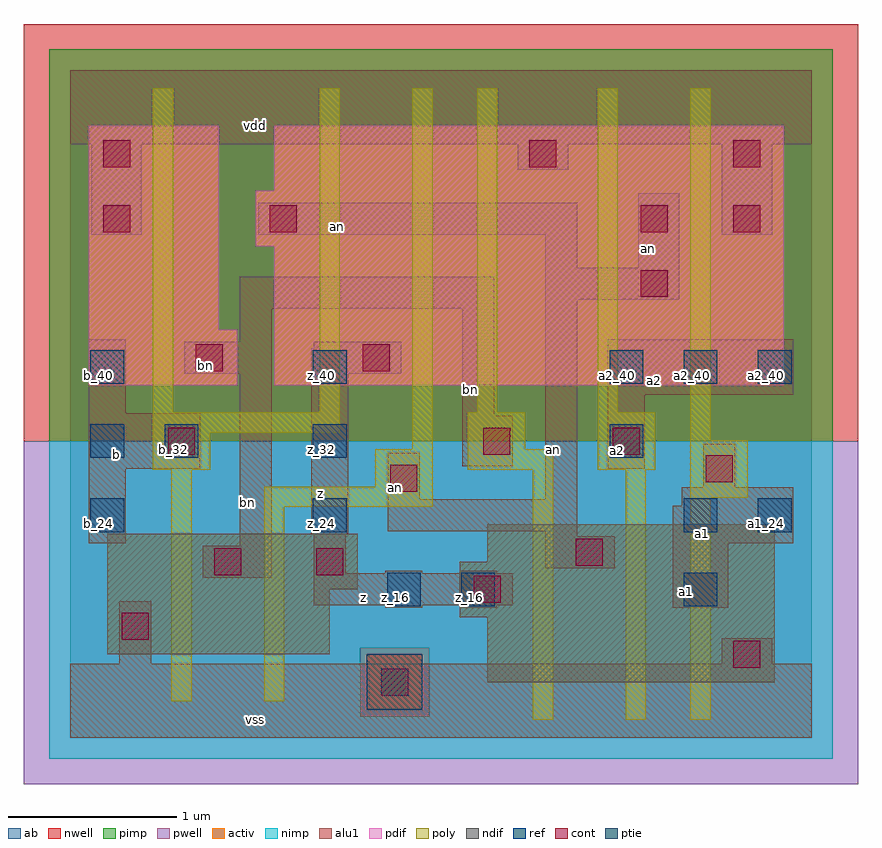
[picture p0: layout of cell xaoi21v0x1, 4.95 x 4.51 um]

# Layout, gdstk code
import gdstk
lib = gdstk.Library(unit=1e-6, precision=2.5e-09)
def R(c, l, rs):  # rectangles x0, y0, x1, y1
    for r in rs: c.add(gdstk.rectangle(r[:2], r[2:], *l))
def A(c, l, x, y, w, h, nx, ny, dx, dy):  # array of equal rectangles
    R(c, l, [(x+i*dx, y+j*dy, x+i*dx+w, y+j*dy+h) for i in range(nx) for j in range(ny)])
ndif = (3, 0)
pdif = (4, 0)
ptie = (6, 0)
ref = (24, 0)
cont = (25, 0)
pwell = (41, 0)
nwell = (42, 0)
activ = (43, 0)
pimp = (44, 0)
nimp = (45, 0)
poly = (46, 0)
alu1 = (49, 0)
ab = (63, 0)

xaoi21v0x1 = lib.new_cell('xaoi21v0x1')
R(xaoi21v0x1, ndif, [(2.475,0.33,4.18,0.715), (0.22,0.495,1.54,0.88), (2.31,0.715,4.18,1.045), (0.22,0.88,1.705,1.21), (2.475,1.045,4.18,1.265)])
R(xaoi21v0x1, pdif, [(0.11,2.09,0.99,2.42), (1.21,2.09,4.235,2.915), (0.11,2.42,0.88,3.63), (1.1,2.915,4.235,3.245), (1.21,3.245,4.235,3.63)])
R(xaoi21v0x1, ptie, [(1.76,0.165,2.09,0.495)])
A(xaoi21v0x1, ref, 0.12, 1.22, 0.2, 0.2, 1, 3, 0, 0.44)
A(xaoi21v0x1, ref, 1.44, 1.22, 0.2, 0.2, 1, 3, 0, 0.44)
A(xaoi21v0x1, ref, 3.2, 2.1, 0.2, 0.2, 3, 1, 0.44, 0)
R(xaoi21v0x1, ref, [(1.88,0.78,2.08,0.98), (2.32,0.78,2.52,0.98), (3.64,0.78,3.84,0.98), (3.64,1.22,3.84,1.42), (4.08,1.22,4.28,1.42), (0.56,1.66,0.76,1.86), (3.2,1.66,3.4,1.86)])
R(xaoi21v0x1, cont, [(1.845,0.25,2.005,0.41), (3.935,0.415,4.095,0.575), (0.305,0.58,0.465,0.74), (2.395,0.8,2.555,0.96), (0.855,0.965,1.015,1.125), (1.46,0.965,1.62,1.125), (3,1.02,3.16,1.18), (1.9,1.46,2.06,1.62), (3.77,1.515,3.93,1.675), (0.58,1.68,0.74,1.84), (2.45,1.68,2.61,1.84), (3.22,1.68,3.38,1.84), (0.745,2.175,0.905,2.335), (1.735,2.175,1.895,2.335), (3.385,2.615,3.545,2.775), (0.195,3,0.355,3.16), (1.185,3,1.345,3.16), (3.385,3,3.545,3.16), (3.935,3,4.095,3.16), (0.195,3.385,0.355,3.545), (2.725,3.385,2.885,3.545), (3.935,3.385,4.095,3.545)])
R(xaoi21v0x1, pwell, [(-0.275,-0.275,4.675,1.76)])
R(xaoi21v0x1, nwell, [(-0.275,1.76,4.675,4.235)])
R(xaoi21v0x1, activ, [(1.76,0.165,2.09,0.495), (2.475,0.33,4.18,0.715), (0.22,0.495,1.54,0.88), (2.31,0.715,4.18,1.045), (0.22,0.88,1.705,1.21), (2.475,1.045,4.18,1.265), (0.11,2.09,0.99,2.42), (1.21,2.09,4.235,2.915), (0.11,2.42,0.88,3.63), (1.1,2.915,4.235,3.245), (1.21,3.245,4.235,3.63)])
R(xaoi21v0x1, pimp, [(1.72,0.125,2.13,0.535), (-0.125,1.76,4.525,4.085)])
R(xaoi21v0x1, nimp, [(-0.125,-0.125,4.525,0.125), (-0.125,0.125,1.72,0.535), (2.13,0.125,4.525,0.535), (-0.125,0.535,4.525,1.76)])
R(xaoi21v0x1, poly, [(2.745,0.105,2.865,1.59), (3.295,0.105,3.415,1.59), (3.68,0.105,3.8,1.425), (0.6,0.215,0.72,1.59), (1.15,0.215,1.27,1.37), (1.15,1.37,2.15,1.49), (3.68,1.425,4.02,1.765), (1.81,1.49,2.15,1.71), (0.49,1.59,0.83,1.81), (2.36,1.59,2.865,1.71), (3.13,1.59,3.47,1.93), (2.03,1.71,2.15,3.855), (2.36,1.71,2.7,1.93), (3.68,1.765,3.8,3.855), (0.49,1.81,1.6,1.93), (0.49,1.93,0.61,3.855), (1.48,1.93,1.6,3.855), (2.415,1.93,2.535,3.855), (3.13,1.93,3.25,3.855)])
R(xaoi21v0x1, alu1, [(0,0,4.4,0.44), (0.29,0.44,0.48,0.81), (3.865,0.44,4.165,0.59), (1.87,0.77,2.09,0.785), (2.31,0.77,2.53,0.785), (3.575,0.77,3.905,1.155), (1.445,0.785,2.625,0.975), (0.785,0.95,1.195,1.14), (1.445,0.975,1.635,1.21), (1.87,0.975,2.09,0.99), (2.31,0.975,2.53,0.99), (2.82,1.005,3.23,1.195), (1.005,1.14,1.195,2.16), (0.11,1.155,0.33,1.595), (3.575,1.155,4.29,1.375), (2.82,1.195,3.01,1.225), (1.43,1.21,1.65,2.16), (1.885,1.225,3.01,1.415), (3.63,1.375,4.29,1.485), (1.885,1.415,2.075,1.69), (2.82,1.415,3.01,2.6), (3.755,1.485,3.945,1.745), (0.11,1.595,0.77,1.925), (3.19,1.595,3.41,2.035), (2.325,1.61,2.625,1.91), (2.325,1.91,2.515,2.545), (0.11,1.925,0.33,2.365), (3.19,2.035,4.29,2.365), (0.675,2.16,1.195,2.35), (1.43,2.16,1.965,2.31), (1.445,2.31,1.965,2.35), (1.005,2.35,1.195,2.545), (1.005,2.545,2.515,2.735), (2.82,2.6,3.615,2.79), (2.82,2.79,3.01,2.985), (3.37,2.79,3.615,3.23), (0.125,2.985,0.425,3.52), (1.115,2.985,3.01,3.175), (3.865,2.985,4.165,3.52), (2.655,3.37,2.955,3.52), (0,3.52,4.4,3.96)])
R(xaoi21v0x1, ab, [(0,0,4.4,3.96)])
xaoi21v0x1.add(gdstk.Label('vss', (1.1,0.11), layer=49, texttype=0))
xaoi21v0x1.add(gdstk.Label('a1', (3.6575,0.865), layer=49, texttype=0))
xaoi21v0x1.add(gdstk.Label('z', (1.74,0.8325), layer=49, texttype=0))
xaoi21v0x1.add(gdstk.Label('a1', (3.7525,1.21), layer=49, texttype=0))
xaoi21v0x1.add(gdstk.Label('a2', (3.245,1.705), layer=49, texttype=0))
xaoi21v0x1.add(gdstk.Label('a2', (3.465,2.1175), layer=49, texttype=0))
xaoi21v0x1.add(gdstk.Label('an', (2.8675,1.71), layer=49, texttype=0))
xaoi21v0x1.add(gdstk.Label('an', (1.9325,1.4825), layer=49, texttype=0))
xaoi21v0x1.add(gdstk.Label('bn', (2.3725,2.0675), layer=49, texttype=0))
xaoi21v0x1.add(gdstk.Label('z', (1.485,1.4475), layer=49, texttype=0))
xaoi21v0x1.add(gdstk.Label('bn', (1.0525,1.395), layer=49, texttype=0))
xaoi21v0x1.add(gdstk.Label('b', (0.275,1.6775), layer=49, texttype=0))
xaoi21v0x1.add(gdstk.Label('bn', (0.805,2.2075), layer=49, texttype=0))
xaoi21v0x1.add(gdstk.Label('an', (3.43,2.9), layer=49, texttype=0))
xaoi21v0x1.add(gdstk.Label('an', (1.5875,3.0325), layer=49, texttype=0))
xaoi21v0x1.add(gdstk.Label('vdd', (1.1,3.63), layer=49, texttype=0))
xaoi21v0x1.add(gdstk.Label('b_32', (0.61,1.71), layer=24, texttype=0))
xaoi21v0x1.add(gdstk.Label('z_24', (1.49,1.27), layer=24, texttype=0))
xaoi21v0x1.add(gdstk.Label('z_32', (1.49,1.71), layer=24, texttype=0))
xaoi21v0x1.add(gdstk.Label('z_40', (1.49,2.15), layer=24, texttype=0))
xaoi21v0x1.add(gdstk.Label('z_16', (1.93,0.83), layer=24, texttype=0))
xaoi21v0x1.add(gdstk.Label('b_24', (0.17,1.27), layer=24, texttype=0))
xaoi21v0x1.add(gdstk.Label('b_32', (0.17,1.71), layer=24, texttype=0))
xaoi21v0x1.add(gdstk.Label('b_40', (0.17,2.15), layer=24, texttype=0))
xaoi21v0x1.add(gdstk.Label('z_16', (2.37,0.83), layer=24, texttype=0))
xaoi21v0x1.add(gdstk.Label('a2_32', (3.25,1.71), layer=24, texttype=0))
xaoi21v0x1.add(gdstk.Label('a2_40', (3.25,2.15), layer=24, texttype=0))
xaoi21v0x1.add(gdstk.Label('a1_16', (3.69,0.83), layer=24, texttype=0))
xaoi21v0x1.add(gdstk.Label('a1_24', (3.69,1.27), layer=24, texttype=0))
xaoi21v0x1.add(gdstk.Label('a2_40', (3.69,2.15), layer=24, texttype=0))
xaoi21v0x1.add(gdstk.Label('a1_24', (4.13,1.27), layer=24, texttype=0))
xaoi21v0x1.add(gdstk.Label('a2_40', (4.13,2.15), layer=24, texttype=0))

lib.write_gds('xaoi21v0x1.gds')
